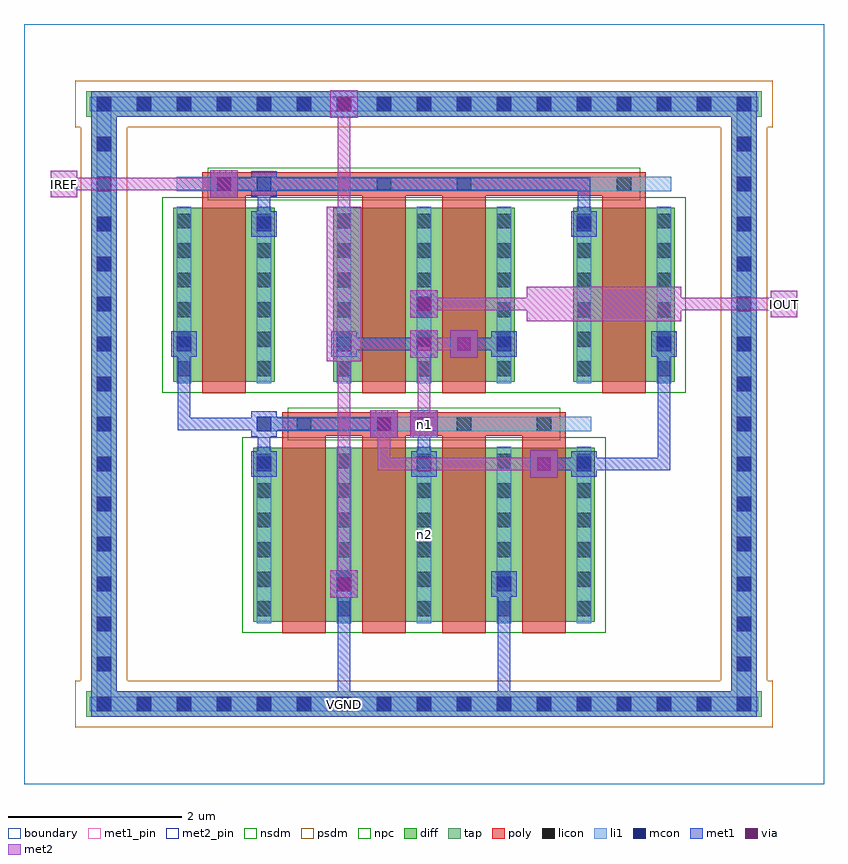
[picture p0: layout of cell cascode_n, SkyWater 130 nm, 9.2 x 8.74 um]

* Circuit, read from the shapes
.subckt cascode_n IOUT IREF VGND n1 n2
XM1 IREF IREF n1 VGND sky130_fd_pr__nfet_01v8 w=2 l=0.5 m=2
XM2 VGND n1 n1 VGND sky130_fd_pr__nfet_01v8 w=2 l=0.5 m=2
XM3 n2 n1 VGND VGND sky130_fd_pr__nfet_01v8 w=2 l=0.5 m=2
XM4 IOUT IREF n2 VGND sky130_fd_pr__nfet_01v8 w=2 l=0.5 m=2
.ends

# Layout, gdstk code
import gdstk
lib = gdstk.Library(unit=1e-6, precision=1e-09)
def R(c, l, rs):  # rectangles x0, y0, x1, y1
    for r in rs: c.add(gdstk.rectangle(r[:2], r[2:], *l))
def A(c, l, x, y, w, h, nx, ny, dx, dy):  # array of equal rectangles
    R(c, l, [(x+i*dx, y+j*dy, x+i*dx+w, y+j*dy+h) for i in range(nx) for j in range(ny)])
diff = (65, 20)
tap = (65, 44)
poly = (66, 20)
licon = (66, 44)
li1 = (67, 20)
mcon = (67, 44)
met1_pin = (68, 16)
met1 = (68, 20)
via = (68, 44)
met2_pin = (69, 16)
met2 = (69, 20)
nsdm = (93, 44)
psdm = (94, 20)
npc = (95, 20)
boundary = (235, 4)

cascode_n = lib.new_cell('cascode_n')
R(cascode_n, diff, [(2.635,1.865,6.565,3.865), (1.715,4.625,2.885,6.625), (3.555,4.625,5.645,6.625), (6.315,4.625,7.485,6.625)])
R(cascode_n, tap, [(0.715,0.775,8.485,1.065), (0.775,0.775,1.065,7.965), (8.135,0.775,8.425,7.965), (0.715,7.675,8.485,7.965)])
A(cascode_n, poly, 2.97, 1.735, 0.5, 2.405, 4, 1, 0.92, 0)
R(cascode_n, poly, [(2.97,4.005,6.23,4.275), (2.05,4.495,2.55,6.9), (3.89,4.495,4.39,6.9), (4.81,4.495,5.31,6.9), (6.65,4.495,7.15,6.9), (2.05,6.765,7.15,7.035)])
A(cascode_n, licon, 0.835, 0.835, 0.17, 0.17, 17, 2, 0.46, 6.9)
A(cascode_n, licon, 0.835, 1.295, 0.17, 0.17, 1, 14, 0, 0.46)
A(cascode_n, licon, 8.195, 1.295, 0.17, 0.17, 1, 14, 0, 0.46)
A(cascode_n, licon, 2.675, 1.93, 0.17, 0.17, 5, 6, 0.92, 0.34)
A(cascode_n, licon, 3.135, 4.055, 0.17, 0.17, 4, 1, 0.92, 0)
A(cascode_n, licon, 1.755, 4.69, 0.17, 0.17, 7, 6, 0.92, 0.34)
R(cascode_n, licon, [(2.215,6.815,2.385,6.985), (4.055,6.815,4.225,6.985), (4.975,6.815,5.145,6.985), (6.815,6.815,6.985,6.985)])
A(cascode_n, li1, 2.675, 1.85, 0.17, 2.03, 5, 1, 0.92, 0)
A(cascode_n, li1, 1.755, 4.61, 0.17, 2.03, 7, 1, 0.92, 0)
R(cascode_n, li1, [(0.755,0.835,8.445,1.005), (0.835,0.835,1.005,7.905), (8.195,0.835,8.365,7.905), (2.675,4.055,6.525,4.225), (1.755,6.815,7.445,6.985), (0.755,7.735,8.445,7.905)])
A(cascode_n, mcon, 0.835, 0.835, 0.17, 0.17, 17, 2, 0.46, 6.9)
A(cascode_n, mcon, 0.835, 1.295, 0.17, 0.17, 1, 5, 0, 0.46)
A(cascode_n, mcon, 8.195, 1.295, 0.17, 0.17, 1, 5, 0, 0.46)
A(cascode_n, mcon, 0.835, 3.595, 0.17, 0.17, 5, 1, 1.84, 0)
A(cascode_n, mcon, 0.835, 4.055, 0.17, 0.17, 1, 3, 0, 0.46)
A(cascode_n, mcon, 8.195, 4.055, 0.17, 0.17, 1, 3, 0, 0.46)
A(cascode_n, mcon, 1.755, 4.975, 0.17, 0.17, 4, 1, 1.84, 0)
A(cascode_n, mcon, 0.835, 5.435, 0.17, 0.17, 3, 1, 3.68, 0)
A(cascode_n, mcon, 0.835, 5.895, 0.17, 0.17, 1, 4, 0, 0.46)
A(cascode_n, mcon, 8.195, 5.895, 0.17, 0.17, 1, 4, 0, 0.46)
R(cascode_n, mcon, [(3.595,2.215,3.765,2.385), (5.435,2.215,5.605,2.385), (2.675,4.055,2.845,4.225), (2.675,6.355,2.845,6.525), (6.355,6.355,6.525,6.525), (2.675,6.815,2.845,6.985)])
R(cascode_n, met1_pin, [(3.61,0.85,3.75,0.99)])
A(cascode_n, met1, 2.615, 3.535, 0.29, 0.29, 3, 1, 1.84, 0)
A(cascode_n, met1, 1.695, 4.915, 0.29, 0.29, 4, 1, 1.84, 0)
R(cascode_n, met1, [(0.775,0.775,8.425,1.065), (0.775,0.775,1.065,7.965), (8.135,0.775,8.425,7.965), (3.61,0.85,3.75,0.99), (3.61,0.85,3.75,2.37), (3.61,0.85,5.59,0.99), (5.45,0.85,5.59,2.37), (3.52,2.14,3.84,2.46), (3.535,2.155,3.825,2.445), (5.375,2.155,5.665,2.445), (5.82,3.52,6.14,3.84), (2.69,3.61,2.83,4.21), (4.53,3.61,4.67,4.21), (5.91,3.61,6.51,3.75), (6.37,3.61,7.43,3.75), (7.29,3.61,7.43,5.13), (3.98,3.98,4.3,4.3), (4.44,3.98,4.76,4.3), (2.615,3.995,2.905,4.285), (1.77,4.07,2.83,4.21), (1.77,4.07,1.91,5.13), (2.69,4.07,4.21,4.21), (4.44,4.9,4.76,5.22), (4.9,4.9,5.22,5.22), (3.61,4.99,4.67,5.13), (4.99,4.99,5.59,5.13), (4.44,5.36,4.76,5.68), (4.455,5.375,4.745,5.665), (2.615,6.295,2.905,6.585), (6.295,6.295,6.585,6.585), (2.69,6.37,2.83,6.97), (6.37,6.37,6.51,6.97), (2.14,6.74,2.46,7.06), (2.615,6.755,2.905,7.045), (2.23,6.83,2.83,6.97), (2.69,6.83,6.51,6.97), (3.52,7.66,3.84,7.98), (0.775,7.675,8.425,7.965), (3.61,7.75,3.75,7.89)])
R(cascode_n, via, [(3.605,2.225,3.755,2.375), (5.905,3.605,6.055,3.755), (4.065,4.065,4.215,4.215), (4.525,4.065,4.675,4.215), (4.525,4.985,4.675,5.135), (4.985,4.985,5.135,5.135), (4.525,5.445,4.675,5.595), (2.225,6.825,2.375,6.975), (3.605,7.745,3.755,7.895)])
R(cascode_n, met2_pin, [(8.59,5.37,8.89,5.67), (0.31,6.75,0.61,7.05)])
R(cascode_n, met2, [(3.52,2.14,3.84,2.46), (3.61,2.23,3.75,5.13), (5.82,3.52,6.14,3.84), (4.07,3.61,4.21,4.21), (4.07,3.61,6.05,3.75), (3.98,3.98,4.3,4.3), (4.44,3.98,4.76,4.3), (4.53,4.07,4.67,5.13), (3.48,4.86,3.88,6.64), (4.44,4.9,4.76,5.22), (4.9,4.9,5.22,5.22), (4.53,4.99,5.13,5.13), (5.78,5.32,7.56,5.72), (4.44,5.36,4.76,5.68), (8.59,5.37,8.89,5.67), (4.53,5.45,6.05,5.59), (7.29,5.45,8.81,5.59), (8.67,5.45,8.81,5.59), (3.61,6.37,3.75,7.89), (2.14,6.74,2.46,7.06), (0.31,6.75,0.61,7.05), (0.39,6.83,2.37,6.97), (0.39,6.83,0.53,6.97), (3.52,7.66,3.84,7.98)])
R(cascode_n, nsdm, [(2.51,1.74,6.69,3.99), (1.59,4.5,7.61,6.75)])
R(cascode_n, psdm, [(0.59,0.65,8.61,1.19), (0.65,1.19,1.19,7.55), (8.01,1.19,8.55,7.55), (0.59,7.55,8.61,8.09)])
R(cascode_n, npc, [(3.035,3.955,6.165,4.325), (2.115,6.715,7.085,7.085)])
R(cascode_n, boundary, [(0,0,9.2,8.74)])
cascode_n.add(gdstk.Label('n1', (4.6,4.14), layer=67, texttype=5))
cascode_n.add(gdstk.Label('n2', (4.6,2.865), layer=67, texttype=5))
cascode_n.add(gdstk.Label('VGND', (3.68,0.92), layer=68, texttype=5))
cascode_n.add(gdstk.Label('IREF', (0.46,6.9), layer=69, texttype=5))
cascode_n.add(gdstk.Label('IOUT', (8.74,5.52), layer=69, texttype=5))
cascode_n.add(gdstk.Label('VGND', (3.68,0.92), layer=68, texttype=16))
cascode_n.add(gdstk.Label('IREF', (0.46,6.9), layer=69, texttype=16))
cascode_n.add(gdstk.Label('IOUT', (8.74,5.52), layer=69, texttype=16))

lib.write_gds('cascode_n.gds')
